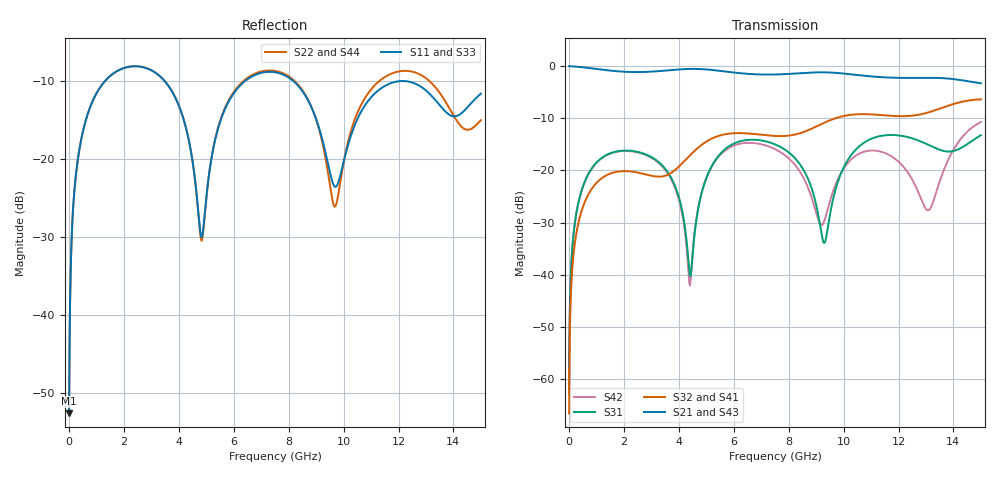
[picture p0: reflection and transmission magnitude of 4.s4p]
! Created with skrf 1.8.0 (http://scikit-rf.org).
# GHz S RI R 50.0
!freq ReS11 ImS11 ReS12 ImS12 ReS13 ImS13
! ReS14 ImS14
! ReS21 ImS21 ReS22 ImS22 ReS23 ImS23
! ReS24 ImS24
! ReS31 ImS31 ReS32 ImS32 ReS33 ImS33
! ReS34 ImS34
! ReS41 ImS41 ReS42 ImS42 ReS43 ImS43
! ReS44 ImS44
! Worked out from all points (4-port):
!   2499 points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, 5 MHz to 15 GHz, reference 50 ohm
!   strongest paths, dB at 5 MHz, 3.476 GHz, 7.19 GHz, 11.1 GHz, 15 GHz:
!     S21: 0.0, -0.9, -1.6, -2.0, -3.3
!     S43: 0.0, -0.9, -1.6, -2.0, -3.3
!     S32: -66.6, -21.1, -13.3, -9.3, -6.4
!     S41: -66.6, -21.1, -13.3, -9.3, -6.5
!     S31: -62.7, -19.5, -14.5, -13.8, -13.3
!     S42: -62.7, -19.7, -15.3, -16.2, -10.7
!   lowest |S11| = -52.7 dB at 5 MHz (marker M1), VSWR 1.00, Z = 50.2 + j0.142 ohm
!   |S11| at or under -10 dB: 3.483 GHz to 6.412 GHz (2.929 GHz wide, 59.2 % of centre); 8.168 GHz to 12.1 GHz (3.928 GHz wide, 38.8 % of centre); 12.21 GHz to end of sweep (the widest 3 of 4)
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0.005  0.00186 0.00141  0.9981 -0.00361  9.37e-05 0.000731  -9.1e-05 -0.000459
       0.9981 -0.00361  0.00186 0.00141  -9.1e-05 -0.000459  9.37e-05 0.000731
       9.37e-05 0.000731  -9.1e-05 -0.000459  0.00186 0.00141  0.9981 -0.00361
       -9.1e-05 -0.000459  9.37e-05 0.000731  0.9981 -0.00361  0.00186 0.00141
0.3626511  0.0373 0.1041  0.9484 -0.2566  0.018 0.0483  -0.0148 -0.0295
           0.9484 -0.2566  0.0373 0.1041  -0.0148 -0.0295  0.0177 0.0484
           0.018 0.0483  -0.0148 -0.0295  0.0373 0.1041  0.9484 -0.2566
           -0.0148 -0.0295  0.0177 0.0484  0.9484 -0.2566  0.0373 0.1041
1.725719  0.3383 0.1344  0.3744 -0.811  0.1486 0.0307  -0.094 0.0224
          0.3744 -0.811  0.3393 0.1334  -0.0941 0.0226  0.1461 0.0361
          0.1486 0.0307  -0.0941 0.0226  0.3383 0.1345  0.3743 -0.8109
          -0.094 0.0224  0.1461 0.0361  0.3743 -0.8109  0.3395 0.1333
4.395581  0.0613 -0.1075  -0.8759 -0.3383  -0.00926 -0.00433  -0.0466 0.1306
          -0.8759 -0.3383  0.0593 -0.1087  -0.045 0.1312  -0.00758 -0.00237
          -0.00926 -0.00433  -0.045 0.1312  0.0623 -0.108  -0.8757 -0.3383
          -0.0466 0.1306  -0.00758 -0.00237  -0.8757 -0.3383  0.059 -0.1097
7.27178  0.3621 0.00852  -0.1056 0.8222  0.1674 -0.0823  0.2109 -0.042
         -0.1056 0.8222  0.3697 -0.00221  0.2112 -0.0458  0.1612 -0.0523
         0.1674 -0.0823  0.2112 -0.0458  0.362 0.00806  -0.1049 0.8221
         0.2109 -0.042  0.1612 -0.0523  -0.1049 0.8221  0.3709 -0.00232
9.979158  0.0783 0.0487  0.8489 -0.0362  0.0576 0.0857  -0.027 -0.3299
          0.8489 -0.0362  0.0657 0.0618  -0.0346 -0.3292  0.0213 0.0995
          0.0576 0.0857  -0.0346 -0.3292  0.079 0.0451  0.8489 -0.0372
          -0.027 -0.3299  0.0213 0.0995  0.8489 -0.0372  0.0646 0.0603
15  0.2585 0.0454  -0.6834 0.0316  0.043 0.213  0.0557 0.4722
    -0.6834 0.0316  0.177 0.0124  0.0689 0.4749  0.0984 0.2738
    0.043 0.213  0.0689 0.4749  0.2477 0.0418  -0.6833 0.0373
    0.0557 0.4722  0.0984 0.2738  -0.6833 0.0373  0.1895 0.0163
